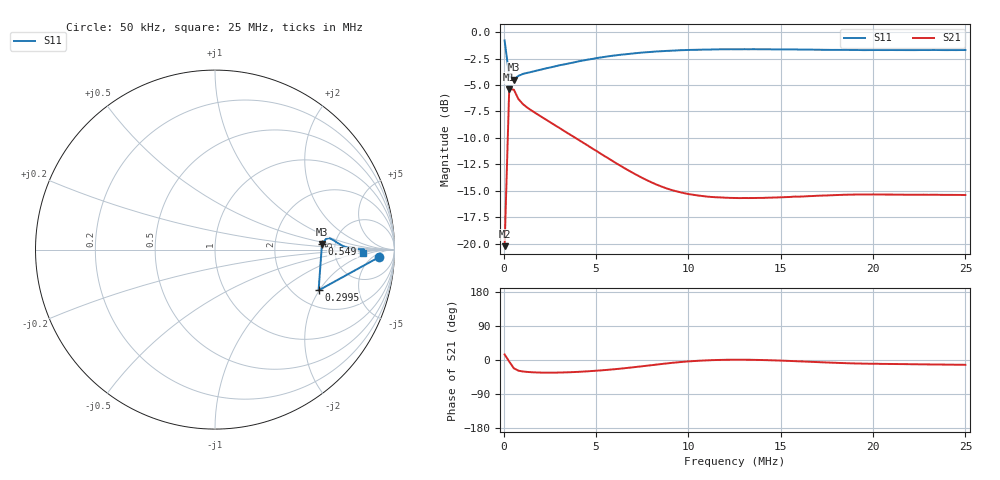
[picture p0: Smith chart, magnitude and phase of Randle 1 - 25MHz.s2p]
# Hz S RI R 50
!  Frequency  S11_Real  S11_Imag  S21_Real  S21_Imag  S12_Real  S12_Imag  S22_Real  S22_Imag
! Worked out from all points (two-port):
!   101 points, 50 kHz to 25 MHz, reference 50 ohm
!   highest |S21| = -5.39 dB at 299.5 kHz (marker M1); lowest = -20.2 dB at 50 kHz (marker M2)
!   |S21| within 3 dB of the highest: 249 kHz to 2.402 MHz (2.153 MHz wide, 162 % of centre)
!   lowest |S11| = -4.5 dB at 549 kHz (marker M3), VSWR 3.96, Z = 196 + j18.8 ohm
!   |S11| at or under -10 dB: nowhere
!   S12 and S22 are empty: the file has one direction only
!   S11 on the Smith chart (normalised r, x): 50 kHz: 17, -9; 299.5 kHz: 2.67, -1.97; 549 kHz: 3.92, +0.38; 25 MHz: 10, -1
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50000  0.9119 -0.0432  0.0943 0.0246  0 0  0 0
299500  0.5771 -0.2271  0.5362 -0.0387  0 0  0 0
549000  0.596 0.0308  0.4963 -0.1987  0 0  0 0
798500  0.6184 0.0593  0.4255 -0.228  0 0  0 0
1048000  0.6317 0.0634  0.3937 -0.2304  0 0  0 0
1297500  0.6394 0.0622  0.3735 -0.2294  0 0  0 0
1796500  0.6557 0.0547  0.3447 -0.2231  0 0  0 0
2545000  0.6801 0.0388  0.3119 -0.2059  0 0  0 0
3293500  0.7036 0.0251  0.2863 -0.1838  0 0  0 0
4291500  0.7336 0.0122  0.2589 -0.153  0 0  0 0
5788500  0.7709 0.00391  0.2257 -0.1064  0 0  0 0
7036000  0.7931 0.00194  0.2033 -0.0705  0 0  0 0
8533000  0.812 0.00242  0.1834 -0.0345  0 0  0 0
9281500  0.8182 0.00258  0.1764 -0.0208  0 0  0 0
1.003e7  0.8234 0.00164  0.1713 -0.0109  0 0  0 0
1.1028e7  0.8265 0.000851  0.167 -0.00259  0 0  0 0
1.2525e7  0.8295 -0.000824  0.1645 0.00208  0 0  0 0
1.42715e7  0.8297 -0.00263  0.1651 -0.00126  0 0  0 0
1.67665e7  0.8259 -0.00565  0.1675 -0.0149  0 0  0 0
1.87625e7  0.8234 -0.0089  0.1687 -0.0259  0 0  0 0
2.1008e7  0.8228 -0.0117  0.1679 -0.0311  0 0  0 0
2.5e7  0.8225 -0.0165  0.1658 -0.0375  0 0  0 0
